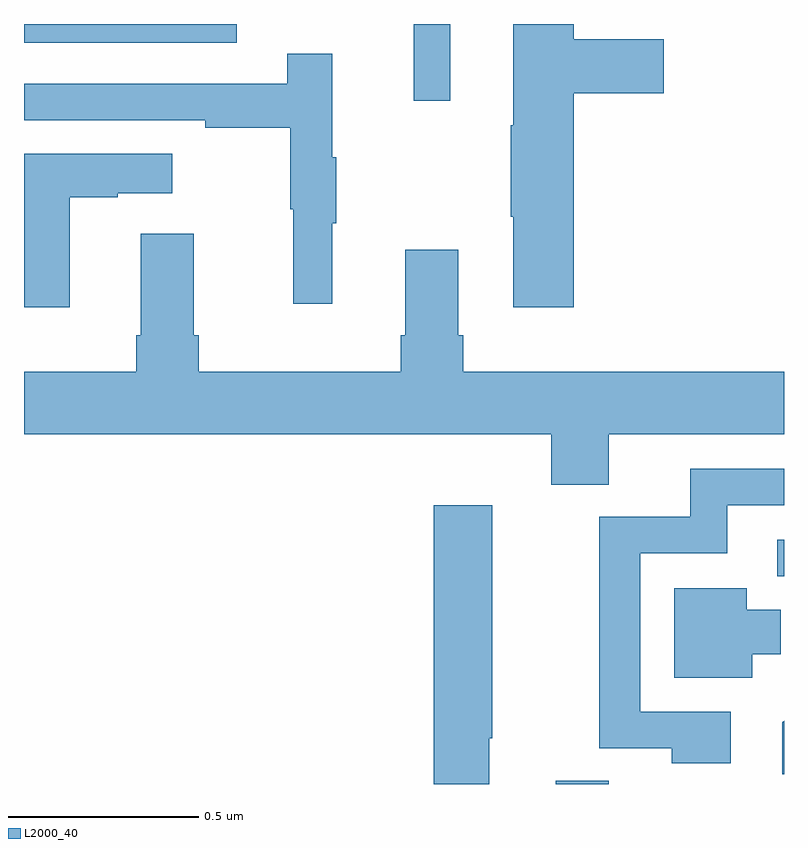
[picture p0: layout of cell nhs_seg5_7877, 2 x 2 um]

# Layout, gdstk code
import gdstk
lib = gdstk.Library(unit=1e-6, precision=1e-09)
def R(c, l, rs):  # rectangles x0, y0, x1, y1
    for r in rs: c.add(gdstk.rectangle(r[:2], r[2:], *l))
def P(c, l, *ps):  # polygons
    for p in ps: c.add(gdstk.Polygon(p, *l))
L2000_40 = (2000, 40)

nhs_seg5_7877 = lib.new_cell('nhs_seg5_7877')
R(nhs_seg5_7877, L2000_40, [(215.399,895.799,215.539,895.808), (215.982,896.346,216,896.442), (215.025,897.597,215.122,897.799), (214,897.75,214.56,897.799)])
P(nhs_seg5_7877, L2000_40, [(215.447,897.617),(215.683,897.617),(215.683,897.759),(215.447,897.759),(215.447,897.799),(215.288,897.799),(215.288,897.533),(215.281,897.533),(215.281,897.292),(215.288,897.292),(215.288,897.054),(215.447,897.054)],
  [(214.811,897.275),(214.822,897.275),(214.822,897.449),(214.811,897.449),(214.811,897.721),(214.693,897.721),(214.693,897.642),(214,897.642),(214,897.546),(214.477,897.546),(214.477,897.526),(214.701,897.526),(214.701,897.312),(214.708,897.312),(214.708,897.063),(214.811,897.063)],
  [(214.12,897.343),(214.247,897.343),(214.247,897.353),(214.39,897.353),(214.39,897.457),(214,897.457),(214,897.054),(214.12,897.054)],
  [(215.539,896.72),(216,896.72),(216,896.884),(215.156,896.884),(215.156,896.98),(215.143,896.98),(215.143,897.205),(215.003,897.205),(215.003,896.98),(214.991,896.98),(214.991,896.884),(214.46,896.884),(214.46,896.98),(214.447,896.98),(214.447,897.247),(214.307,897.247),(214.307,896.98),(214.295,896.98),(214.295,896.884),(214,896.884),(214,896.72),(215.387,896.72),(215.387,896.587),(215.539,896.587)],
  [(215.86,895.989),(215.622,895.989),(215.622,896.406),(215.851,896.406),(215.851,896.532),(216,896.532),(216,896.628),(215.753,896.628),(215.753,896.502),(215.514,896.502),(215.514,895.893),(215.704,895.893),(215.704,895.853),(215.86,895.853)],
  [(215.224,895.919),(215.232,895.919),(215.232,896.533),(215.078,896.533),(215.078,895.799),(215.224,895.799)],
  [(215.917,896.141),(215.992,896.141),(215.992,896.257),(215.902,896.257),(215.902,896.314),(215.711,896.314),(215.711,896.078),(215.917,896.078)],
  [(216,895.966),(215.995,895.961),(215.995,895.825),(216,895.825)])

lib.write_gds('nhs_seg5_7877.gds')
